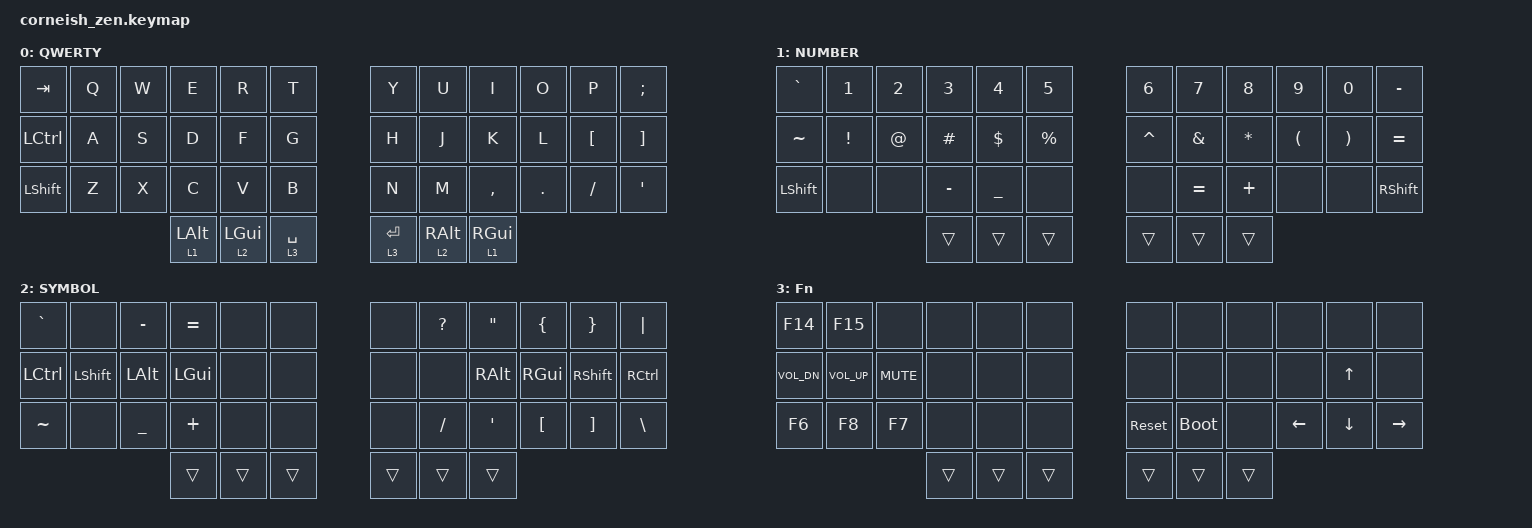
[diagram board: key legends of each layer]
/*
 * Copyright (c) 2020 The ZMK Contributors
 *
 * SPDX-License-Identifier: MIT
 */

#include <behaviors.dtsi>
#include <dt-bindings/zmk/bt.h>
#include <dt-bindings/zmk/keys.h>
#include <dt-bindings/zmk/outputs.h>
#include <dt-bindings/zmk/rgb.h>

/ {
    chosen {
        zmk,matrix_transform = &default_transform;

        // zmk,matrix_transform = &five_column_transform;
    };
};

&mt {
        flavor = "balanced";
};


/ {
    behaviors {
        td0: td0 {
            compatible = "zmk,behavior-tap-dance";
            label = "TD0";
            #binding-cells = <0>;
            bindings = <&kp LEFT_SHIFT>, <&kp CAPS>;
        };

        rpi: require_prior_idle {
            compatible = "zmk,behavior-hold-tap";
            #binding-cells = <2>;
            flavor = "tap-preferred";
            tapping-term-ms = <200>;
            quick-tap-ms = <200>;
            require-prior-idle-ms = <125>;
            bindings = <&kp>, <&kp>;
        };
    };

    macros {
        to_jp: to_jp {
            compatible = "zmk,behavior-macro";
            #binding-cells = <0>;
            bindings
                = <&macro_press &kp LCTRL>
                , <&macro_press &kp LSHFT>
                , <&macro_tap &kp J>
                , <&macro_release &kp LSHFT>
                , <&macro_release &kp LCTRL>
                ;
        };

        to_en: to_en {
            compatible = "zmk,behavior-macro";
            #binding-cells = <0>;
            bindings
                = <&macro_press &kp LCTRL>
                , <&macro_press &kp LSHFT>
                , <&macro_tap &kp SEMI>
                , <&macro_release &kp LSHFT>
                , <&macro_release &kp LCTRL>
                ;
        };

        conv_to_jp_h: conv_to_jp_h {
            compatible = "zmk,behavior-macro";
            #binding-cells = <0>;
            bindings
                = <&macro_press &kp LCTRL>
                , <&macro_tap &kp J>
                , <&macro_release &kp LCTRL>
                ;
        };

        conv_to_jp_k: conv_to_jp_k {
            compatible = "zmk,behavior-macro";
            #binding-cells = <0>;
            bindings
                = <&macro_press &kp LCTRL>
                , <&macro_tap &kp K>
                , <&macro_release &kp LCTRL>
                ;
        };

        conv_to_en: conv_to_en {
            compatible = "zmk,behavior-macro";
            #binding-cells = <0>;
            bindings
                = <&macro_press &kp LCTRL>
                , <&macro_tap &kp SEMI>
                , <&macro_release &kp LCTRL>
                ;
        };

        /* opt_tab: opt_tab { */
        /*     compatible = "zmk,behavior-macro"; */
        /*     #binding-cells = <0>; */
        /*     bindings */
        /*     = <&macro_press &kp LGUI> */
        /*     , <&macro_press &kp TAB> */
        /*     , <&macro_pause_for_release> */
        /*     , <&macro_release &kp LGUI> */
        /*     , <&macro_release &kp TAB> */
        /*     ; */
        /* }; */
        /*  */
        /* opt_grave: opt_grave { */
        /*     compatible = "zmk,behavior-macro"; */
        /*     #binding-cells = <0>; */
        /*     bindings */
        /*         = <&macro_press &kp LGUI> */
        /*         , <&macro_tap &kp GRAVE> */
        /*         , <&macro_release &kp LCTRL> */
        /*         ; */
        /* }; */
    };

    combos {
        compatible = "zmk,combos";

        combo_to_jp {
            timeout-ms = <50>;
            key-positions = <8 9>;
            bindings = <&to_jp>;
        };

        combo_to_en {
            timeout-ms = <50>;
            key-positions = <10 11>;
            bindings = <&to_en>;
        };

        combo_conv_to_jp_h {
            timeout-ms = <50>;
            key-positions = <7 8>;
            bindings = <&conv_to_jp_h>;
        };

        combo_conv_to_jp_k {
            timeout-ms = <50>;
            key-positions = <7 9>;
            bindings = <&conv_to_jp_k>;
        };

        combo_conv_to_en {
            timeout-ms = <50>;
            key-positions = <7 11>;
            bindings = <&conv_to_en>;
        };
    };

    keymap {
        compatible = "zmk,keymap";

        default_layer {
            // Original
            // --------------------------------------------------------------------------------
            // |  TAB |  Q  |  W  |  E  |  R  |  T  |   |  Y  |  U   |  I  |  O  |  P  | BKSP |
            // | CTRL |  A  |  S  |  D  |  F  |  G  |   |  H  |  J   |  K  |  L  |  ;  |  '   |
            // | SHFT |  Z  |  X  |  C  |  V  |  B  |   |  N  |  M   |  ,  |  .  |  /  | ESC  |
            //                    | GUI | LWR | SPC |   | ENT | RSE  | ALT |

            // Home row mods for emacsen and tenting
            // QWERTY Home row mods
            // --------------------------------------------------------------------------------------------------------------------------
            // |       Q  |       W  |       E  |       R  |  T  |  TAB  |   | BKSP  |  Y  |       U  |       I  |        O  |       P  |
            // | CTRL, A  | SHFT, S  |  ALT, D  |  GUI, F  |  G  |   `   |   |   \   |  H  |  GUI, J  |  ALT, K  |  SHFT, L  | CTRL, ;  |
            // |       Z  |       X  |       C  |       V  |  B  | SHFT  |   |   '   |  N  |       M  |       ,  |        .  |       /  |
            //                                  |      GUI | SPC |  LWR  |   |  RSE  | ENT |      ALT |
/*             bindings = < */
/* &kp Q        &kp W        &kp E       &kp R        &kp T        &kp TAB        &kp BSPC  &kp Y        &kp U        &kp I       &kp O        &kp P */
/* &rpi LCTRL A  &rpi LSHFT S  &rpi LALT D  &rpi LGUI F   &kp G        &kp GRAVE      &kp BSLH  &kp H        &rpi RALT K   &rpi RGUI J  &rpi RSHFT L  &rpi RCTRL SEMI */
/* &kp Z        &kp X        &kp      C  &kp V        &kp B        &td0           &kp SQT   &kp N        &kp M        &kp COMMA   &kp DOT      &kp SLASH */
/*                                       &kp LGUI     &lt 3 SPACE  &mo 1          &mo 2     &lt 3 ENTER  &kp RGUI */
/*             >; */

            // Home row mods for emacsen and tenting
            // ONISHI Home row mods
            // --------------------------------------------------------------------------------------------------------------------------------------
            // |       Q  |       L  |       U  |       ,  |  .        |   `   |   | BKSP  |  F        |       W  |       R  |        Y  |       P  |
            // | CTRL, E  | SHFT, I  |  ALT, A  |  GUI, O  |  -        |  TAB  |   |   \   |  K        |  GUI, T  |  ALT, N  |  SHFT, S  | CTRL, H  |
            // |       Z  |       X  |       C  |       V  |  ;        |   F5  |   |   '   |  G        |       D  |       M  |        J  |       B  |
            //                                  |      MO2 | SPC (MO3) |  MO1  |   |  MO2  | ENT (MO3) |      MO1 |
            /* display-name = "HROW-M"; */
/*             bindings = < */
/* &kp       Q  &kp       L  &kp      U  &kp      COMMA  &kp     DOT  &kp  GRAVE     &kp BSPC  &kp       F  &kp      W  &kp      R  &kp       Y  &kp       P */
/* &rpi LCTRL E  &rpi LSHFT I  &rpi LALT A  &rpi LGUI     O  &kp   MINUS  &kp    TAB     &kp BSLH  &kp       K  &rpi RALT T  &rpi RGUI N  &rpi RSHFT S  &rpi RCTRL H */
/* &kp       Z  &kp       X  &kp      C  &kp          V  &kp    SEMI  &kp     F5     &kp  SQT  &kp       G  &kp      D  &kp      M  &kp       J  &kp       B */
/*                                       &lt 3    SPACE  &mo 2        &mo 1          &mo 1     &mo 2        &lt 3 ENTER */
            /*             >; */

            // QWERTY
            // -----------------------------------------------------------------------------------------------------------------------------
            // |  TAB  |  Q  |  W  |  E         |  R        |  T         |       |  Y         |  U        |  I        |  O  |  P  |  :  |
            // | CTRL  |  A  |  S  |  D         |  F        |  F         |       |  H         |  K        |  K        |  L  |  [  |  ]  |
            // | SHFT  |  Z  |  X  |  C         |  V        |  B         |       |  N         |  M        |  ,        |  .  |  /  |  '  |
            //                     |  ALT (MO1) | GUI (MO3) |  SPC (MO1) |       |  ENT (MO1) | ALT (MO3) | GUI (MO1) |
            display-name = "QWERTY";
            bindings = <
            &kp TAB   &kp Q  &kp W  &kp E      &kp R      &kp T          &kp Y       &kp U      &kp I      &kp O   &kp P    &kp SEMI
            &kp LCTRL &kp A  &kp S  &kp D      &kp F      &kp G          &kp H       &kp J      &kp K      &kp L   &kp LBKT &kp RBKT
            &kp LSHFT &kp Z  &kp X  &kp C      &kp V      &kp B          &kp N       &kp M      &kp COMMA  &kp DOT &kp FSLH &kp SQT
                                    &lt 1 LALT &lt 2 LGUI &lt 3 SPACE    &lt 3 ENTER &lt 2 RALT &lt 1 RGUI
            >;
        };

        lower_layer {
            // -----------------------------------------------------------------------------------------
            // |  1  |  2  |  3  |  4  |  5  |     |   |    |  6  |  7  |  8  |  9  |  0  |
            // |  !  |  @  |  #  |  $  |  %  |     |   |    |  ^  |  &  |  *  |  (  |  )  |
            // |  `  |  ~  |     |     |     |     |   |    |     |  -  |  _  |  +  |  =  |
            //
/*             display-name = "NUMSYM"; */
/*             bindings = < */
/* &kp N1         &kp N2       &kp N3        &kp N4        &kp N5    &none     &none  &kp N6    &kp N7        &kp N8         &kp N9         &kp N0 */
/* &rpi LCTRL EXCL &rpi LSHFT AT &rpi LALT HASH &rpi LGUI DLLR &kp PRCNT &none     &none  &kp CARET &rpi RALT AMPS &rpi RGUI ASTRK &rpi RSHFT LPAR &rpi RCTRL RPAR */
/* &kp GRAVE      &kp TILDE    &none         &none         &none     &none     &none  &none     &kp MINUS     &kp UNDER      &kp PLUS       &kp EQUAL */
/*                                          &trans        &trans        &trans             &trans          &trans          &trans */
/*             >; */

            // --------------------------------------------------------------------------------
            // |  `  |  1  |  2  |  3  |  4  |  5  |     |  6  |  7  |  8  |  9  |  0  |  -  |
            // |  ~  |  !  |  @  |  #  |  $  |  %  |     |  ^  |  &  |  *  |  (  |  )  |  =  |
            // |     |     |     |  -  |  _  |     |     |     |  =  |  +  |     |     |     |
            display-name = "NUMBER";
            bindings = <
&kp GRAVE &kp N1   &kp N2 &kp N3    &kp N4    &kp N5         &kp N6    &kp N7    &kp N8    &kp N9   &kp N0   &kp MINUS
&kp TILDE &kp EXCL &kp AT &kp HASH  &kp DLLR  &kp PRCNT      &kp CARET &kp AMPS  &kp ASTRK &kp LPAR &kp RPAR &kp EQUAL
&kp LSHFT &none    &none  &kp MINUS &kp UNDER &none          &none     &kp EQUAL &kp PLUS  &none    &none    &kp RSHFT
                          &trans    &trans    &trans         &trans    &trans    &trans
            >;
        };

        raise_layer {
            // -----------------------------------------------------------------------------------------
            // |  `   |      |  -  |  =  |     |     |    |     |  ?  |  "  |  {  |  }   | '|'  |
            // | CTRL | SHFT | ALT | GUI |     |     |    |     |     | ALT | GUI | SHFT | CTRL |
            // |  ~   |      |  _  |  +  |     |     |    |     |  /  |  '  |  [  |  ]   |  \   |
            //
/*             display-name = "SYMBOL"; */
/*             bindings = < */
/* &kp GRAVE  &none      &kp MINUS &kp EQUAL  &none     &none     &none  &kp QMARK &kp DQT  &kp LBRC &kp RBRC  &kp PIPE */
/* &kp LCTRL  &kp LSHFT  &kp LALT  &kp LGUI   &none     &none     &none  &none     &kp RALT &kp RGUI &kp RSHFT &kp RCTRL */
/* &kp TILDE  &none      &kp UNDER &kp PLUS   &none     &none     &none  &kp FSLH  &kp SQT  &kp LBKT &kp RBKT  &kp BSLH */
/*                              &trans   &trans    &trans       &trans    &trans   &trans */
            /*             >; */

            // -----------------------------------------------------------------------------------------
            // |  `   |      |  -  |  =  |     |     |    |     |  ?  |  "  |  {  |  }   | '|'  |
            // | CTRL | SHFT | ALT | GUI |     |     |    |     |     | ALT | GUI | SHFT | CTRL |
            // |  ~   |      |  _  |  +  |     |     |    |     |  /  |  '  |  [  |  ]   |  \   |
            //
            display-name = "SYMBOL";
            bindings = <
&kp GRAVE  &none      &kp MINUS &kp EQUAL  &none     &none     &none  &kp QMARK &kp DQT  &kp LBRC &kp RBRC  &kp PIPE
&kp LCTRL  &kp LSHFT  &kp LALT  &kp LGUI   &none     &none     &none  &none     &kp RALT &kp RGUI &kp RSHFT &kp RCTRL
&kp TILDE  &none      &kp UNDER &kp PLUS   &none     &none     &none  &kp FSLH  &kp SQT  &kp LBKT &kp RBKT  &kp BSLH
                             &trans   &trans    &trans       &trans    &trans   &trans
            >;

        };

        layer_3 {
            display-name = "Fn";

            // display brightness: f14, f15
            // media: f6 (rw), f7 (ff), f8 (stop)
            // -----------------------------------------------------------------------------------
            // |   f14   |  f15  |      |    |     | opt_tab   |    |  f1  |  f2  | f3 | f4  | f5  | f6  |
            // | VOLDOWN | VOLUP | MUTE |    |     | opt_grave |    |  f7  |  f8  | f9 | f10 | f11 | f12 |
            // |    f6   |   f8  |  f7  |    |     |           |    |  RST | BOOT |    |     |     |     |
            //                   |      |    |     |           |    |      |      |    |

            bindings = <
            &kp F14      &kp F15      &none      &none  &none  &none     &none      &none       &none   &none    &none    &none
            &kp C_VOL_DN &kp C_VOL_UP &kp C_MUTE &none  &none  &none     &none      &none       &none   &none    &kp UP   &none
            &kp F6       &kp F8       &kp F7     &none  &none  &none     &sys_reset &bootloader &none   &kp LEFT &kp DOWN &kp RIGHT
                                                 &trans &trans &trans    &trans     &trans      &trans
            >;
        };
    };
};
